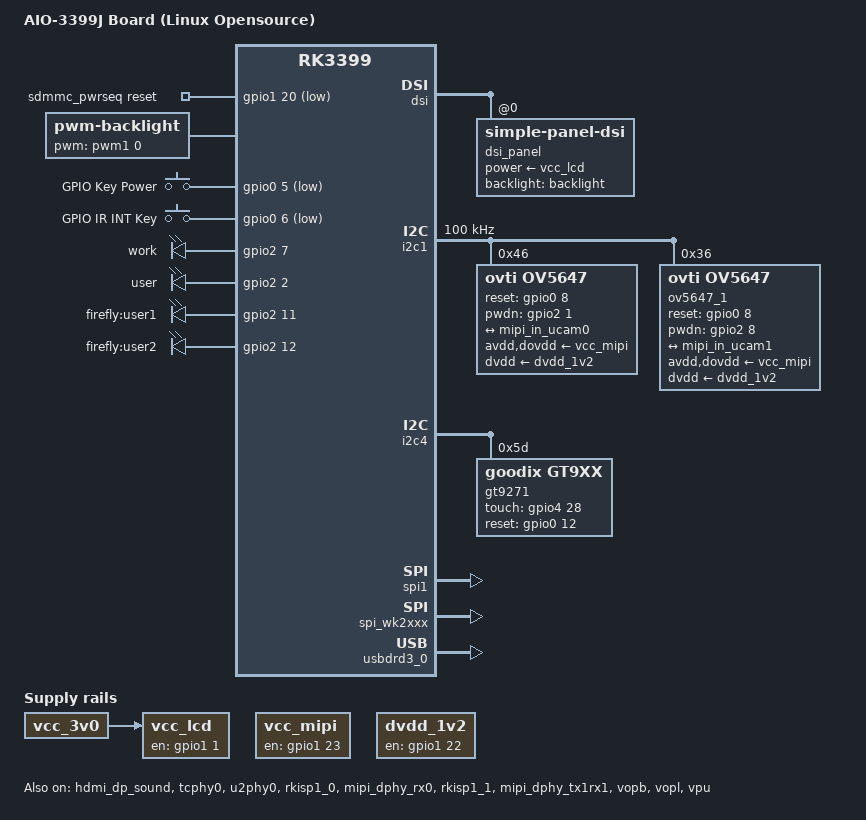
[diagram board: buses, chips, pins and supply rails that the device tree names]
/*
 * Copyright (c) 2016 Fuzhou Rockchip Electronics Co., Ltd
 *
 * This file is dual-licensed: you can use it either under the terms
 * of the GPL or the X11 license, at your option. Note that this dual
 * licensing only applies to this file, and not this project as a
 * whole.
 *
 *  a) This file is free software; you can redistribute it and/or
 *     modify it under the terms of the GNU General Public License as
 *     published by the Free Software Foundation; either version 2 of the
 *     License, or (at your option) any later version.
 *
 *     This file is distributed in the hope that it will be useful,
 *     but WITHOUT ANY WARRANTY; without even the implied warranty of
 *     MERCHANTABILITY or FITNESS FOR A PARTICULAR PURPOSE.  See the
 *     GNU General Public License for more details.
 *
 * Or, alternatively,
 *     restriction, including without limitation the rights to use,
 *     copy, modify, merge, publish, distribute, sublicense, and/or
 *     sell copies of the Software, and to permit persons to whom the
 *     Software is furnished to do so, subject to the following
 *     conditions:
 *
 *     The above copyright notice and this permission notice shall be
 *     included in all copies or substantial portions of the Software.
 *
 *     THE SOFTWARE IS PROVIDED "AS IS", WITHOUT WARRANTY OF ANY KIND,
 *     EXPRESS OR IMPLIED, INCLUDING BUT NOT LIMITED TO THE WARRANTIES
 *     OF MERCHANTABILITY, FITNESS FOR A PARTICULAR PURPOSE AND
 *     NONINFRINGEMENT. IN NO EVENT SHALL THE AUTHORS OR COPYRIGHT
 *     HOLDERS BE LIABLE FOR ANY CLAIM, DAMAGES OR OTHER LIABILITY,
 *     WHETHER IN AN ACTION OF CONTRACT, TORT OR OTHERWISE, ARISING
 *     FROM, OUT OF OR IN CONNECTION WITH THE SOFTWARE OR THE USE OR
 *     OTHER DEALINGS IN THE SOFTWARE.
 */

/dts-v1/;

#include "dt-bindings/pwm/pwm.h"
#include "rk3399.dtsi"
#include "rk3399-opp.dtsi"
#include "rk3399-linux.dtsi"
#include "rk3399-firefly-port.dtsi"
#include <dt-bindings/input/input.h>
#include <dt-bindings/display/media-bus-format.h>

/ {
	model = "AIO-3399J Board (Linux Opensource)";
	compatible = "rockchip,rk3399-firefly", "rockchip,rk3399";

	test-power {
		status = "okay";
	};

	/delete-node/ vcc-sd;
	sdmmc_pwrseq: sdmmc-pwrseq {
		compatible = "mmc-pwrseq-simple";
		clocks = <&rk808 1>;
		clock-names = "ext_clock";
		pinctrl-names = "default";
		pinctrl-0 = <&sdcard_enable_h>;
		/*
		* On the module itself this is one of these (depending
		* on the actual card populated):
		* - SDIO_RESET_L_WL_REG_ON
		* - PDN (power down when low)
		*/
		reset-gpios = <&gpio1 20 GPIO_ACTIVE_LOW>; /* GPIO1_C4 */
	};

    backlight: backlight {
        status = "okay";
        compatible = "pwm-backlight";
        pwms = <&pwm1 0 25000 0>;
        brightness-levels = <
              0   1   2   3   4   5   6   7
              8   9  10  11  12  13  14  15
             16  17  18  19  20  21  22  23
             24  25  26  27  28  29  30  31
             32  33  34  35  36  37  38  39
             40  41  42  43  44  45  46  47
             48  49  50  51  52  53  54  55
             56  57  58  59  60  61  62  63
             64  65  66  67  68  69  70  71
             72  73  74  75  76  77  78  79
             80  81  82  83  84  85  86  87
             88  89  90  91  92  93  94  95
             96  97  98  99 100 101 102 103
            104 105 106 107 108 109 110 111
            112 113 114 115 116 117 118 119
            120 121 122 123 124 125 126 127
            128 129 130 131 132 133 134 135
            136 137 138 139 140 141 142 143
            144 145 146 147 148 149 150 151
            152 153 154 155 156 157 158 159
            160 161 162 163 164 165 166 167
            168 169 170 171 172 173 174 175
            176 177 178 179 180 181 182 183
            184 185 186 187 188 189 190 191
            192 193 194 195 196 197 198 199
            200 201 202 203 204 205 206 207
            208 209 210 211 212 213 214 215
            216 217 218 219 220 221 222 223
            224 225 226 227 228 229 230 231
            232 233 234 235 236 237 238 239
            240 241 242 243 244 245 246 247
            248 249 250 251 252 253 254 255>;
        default-brightness-level = <50>;
    };

/*  POWER CONTROL START */
    vcc_lcd: vcc-lcd {
        compatible = "regulator-fixed";
        enable-active-high;
        regulator-boot-on;
        gpio = <&gpio1 1 GPIO_ACTIVE_HIGH>;
        pinctrl-names = "default";
        pinctrl-0 = <&lcd_en>;
        regulator-name = "vcc_lcd";
        vin-supply = <&vcc_3v0>;
    };

    vcc_mipi: vcc_mipi {
        compatible = "regulator-fixed";
        enable-active-high;
        gpio = <&gpio1 23 GPIO_ACTIVE_HIGH>;
        pinctrl-names = "default";
        pinctrl-0 = <&dvp_pwr>;
        regulator-name = "vcc_mipi";
        status = "okay";
        };

    dvdd_1v2: dvdd-1v2 {
        compatible = "regulator-fixed";
        enable-active-high;
        gpio = <&gpio1 22 GPIO_ACTIVE_HIGH>;
        pinctrl-names = "default";
        pinctrl-0 = <&cif_pwr>;
        regulator-name = "dvdd_1v2";
        status = "okay";
        };

/* POWER CONTROL */


    gpio-keys {
        compatible = "gpio-keys";
        #address-cells = <1>;
        #size-cells = <0>;
        autorepeat;

        button@0 {
            gpios = <&gpio0 5 GPIO_ACTIVE_LOW>;
            linux,code = <KEY_POWER>;
            label = "GPIO Key Power";
            linux,input-type = <1>;
            gpio-key,wakeup = <1>;
            debounce-interval = <100>;
            pinctrl-names = "default";
            pinctrl-0 = <&pwrbtn>;
        };

        button@1 {
           gpios = <&gpio0 6 GPIO_ACTIVE_LOW>;         
           linux,code = <KEY_WWW>;
           label = "GPIO IR INT Key";
           linux,input-type = <1>;
           gpio-key,wakeup = <1>;
           debounce-interval = <100>;
           pinctrl-names = "default";
           pinctrl-0 = <&ir_int_btn>;
        };

    };

	leds {
		compatible = "gpio-leds";

		work {
			gpios = <&gpio2 7 GPIO_ACTIVE_HIGH>;
			default-state = "on";
		};

		user {
			gpios = <&gpio2 2 GPIO_ACTIVE_HIGH>;
			default-state = "off";
		};

        user1 {
            label = "firefly:user1";
            gpios = <&gpio2 11 GPIO_ACTIVE_HIGH>;
            pinctrl-names = "default";
            pinctrl-0 = <&led_user1>;
            default-state = "off";
        };

        user2 {
            label = "firefly:user2";
            gpios = <&gpio2 12 GPIO_ACTIVE_HIGH>;
            pinctrl-names = "default";
            pinctrl-0 = <&led_user2>;
            default-state = "off";
        };
	};
};
///////////mipi LCD


&dsi {
    status = "okay";
    dsi_panel: panel {
        compatible ="simple-panel-dsi";
        reg = <0>;
        backlight = <&backlight>;
        power-supply = <&vcc_lcd>;
        dsi,flags = <(MIPI_DSI_MODE_VIDEO | MIPI_DSI_MODE_VIDEO_BURST)>;
        dsi,format = <MIPI_DSI_FMT_RGB888>;
        bus-format = <MEDIA_BUS_FMT_RGB666_1X18>;
        dsi,lanes = <4>;
        reset-delay-ms = <20>;
        init-delay-ms = <20>;
        enable-delay-ms = <120>;
        prepare-delay-ms = <120>;
        status = "okay";

        panel-init-sequence = [
            05 20 01 29
            05 96 01 11
        ];

        panel-exit-sequence = [
            05 05 01 28
            05 78 01 10
        ];

        disp_timings: display-timings {
            native-mode = <&timing0>;

            timing0: timing0 {
                clock-frequency = <72000000>;
                hactive = <1280>;
                vactive = <800>;
                hsync-len = <20>;
                hback-porch = <110>;
                hfront-porch = <170>;
                vsync-len = <40>;
                vback-porch = <130>;
                vfront-porch = <136>;
                hsync-active = <1>;
                vsync-active = <1>;
                de-active = <1>;
                pixelclk-active = <0>;
            };
        };
    };
};

&i2c1 {
    status = "okay";
    i2c-scl-rising-time-ns = <300>;
    i2c-scl-falling-time-ns = <15>;
    clock-frequency = <100000>;
/*
    ov13850: ov13850@36 {
        compatible = "ovti,ov13850";
        status = "okay";
        reg = <0x36>;
        clocks = <&cru SCLK_CIF_OUT>;
        clock-names = "xvclk";

        // conflict with csi-ctl-gpios 
        reset-gpios = <&gpio0 8 GPIO_ACTIVE_HIGH>;
        pwdn-gpios = <&gpio2 1 GPIO_ACTIVE_HIGH>;
        pinctrl-names = "rockchip,camera_default", "rockchip,camera_sleep";
        //pinctrl-0 = <&cif_clkout>;
        pinctrl-0 = <&cam0_default_pins>;
        pinctrl-1 = <&cam0_sleep_pins>;

        avdd-supply = <&vcc_mipi>; // VCC28_MIPI 
        dovdd-supply = <&vcc_mipi>; // VCC18_MIPI 
        dvdd-supply = <&dvdd_1v2>; // DVDD_1V2 

        port {
            ucam_out0: endpoint {
                remote-endpoint = <&mipi_in_ucam0>;
                data-lanes = <1 2>;
            };
        };
    };

    ov13850_1: ov13850@46 {
        compatible = "ovti,ov13850";
        status = "okay";
        reg = <0x46>;
        clocks = <&cru SCLK_CIF_OUT>;
        clock-names = "xvclk";

        // conflict with csi-ctl-gpios 
        reset-gpios = <&gpio0 8 GPIO_ACTIVE_HIGH>;
        pwdn-gpios = <&gpio2 1 GPIO_ACTIVE_HIGH>;
        pinctrl-names = "rockchip,camera_default", "rockchip,camera_sleep";
        //pinctrl-0 = <&cif_clkout>;
        pinctrl-0 = <&cam0_default_pins>;
        pinctrl-1 = <&cam0_sleep_pins>;

        avdd-supply = <&vcc_mipi>; // VCC28_MIPI 
        dovdd-supply = <&vcc_mipi>; // VCC18_MIPI 
        dvdd-supply = <&dvdd_1v2>; // DVDD_1V2 

        port {
            ucam_out1: endpoint {
                remote-endpoint = <&mipi_in_ucam1>;
                data-lanes = <1 2>;
            };
        };
    };
*/
    ov5647: ov5647@46 {
        compatible = "ovti,ov5647";
        status = "okay";
        reg = <0x46>;
        clocks = <&cru SCLK_CIF_OUT>;
        clock-names = "xvclk";

       // conflict with csi-ctl-gpios 
        reset-gpios = <&gpio0 8 GPIO_ACTIVE_HIGH>;
        pwdn-gpios = <&gpio2 1 GPIO_ACTIVE_HIGH>;
    //pinctrl-names = "rockchip,camera_default","rockchip,camera_sleep";
        //pinctrl-0 = <&cif_clkout>;
        //pinctrl-0 = <&cam0_default_pins>;
        //pinctrl-1 = <&cam0_sleep_pins>;

        avdd-supply = <&vcc_mipi>;  // VCC28_MIPI 
        dovdd-supply = <&vcc_mipi>; // VCC18_MIPI 
        dvdd-supply = <&dvdd_1v2>;  // DVDD_1V2 

        port {
           ucam_out0: endpoint {
               remote-endpoint = <&mipi_in_ucam0>;
               data-lanes = <1 2>;
           };
       };
    };


   ov5647_1: ov5647@36 {
       compatible = "ovti,ov5647";
       status = "okay";
       reg = <0x36>;
        clocks = <&cru SCLK_CIF_OUT>;
        clock-names = "xvclk";

        // conflict with csi-ctl-gpios 
        reset-gpios = <&gpio0 8 GPIO_ACTIVE_HIGH>;
        pwdn-gpios = <&gpio2 8 GPIO_ACTIVE_HIGH>;
    //pinctrl-names = "rockchip,camera_default", "rockchip,camera_sleep";
        //pinctrl-0 = <&cif_clkout>;
        //pinctrl-0 = <&cam0_default_pins>;
        //pinctrl-1 = <&cam0_sleep_pins>;

        avdd-supply = <&vcc_mipi>; // VCC28_MIPI 
        dovdd-supply = <&vcc_mipi>; // VCC18_MIPI 
        dvdd-supply = <&dvdd_1v2>; // DVDD_1V2 

        port {
            ucam_out1: endpoint {
                remote-endpoint = <&mipi_in_ucam1>;
                data-lanes = <1 2>;
            };
        };
    };


};


&i2c4 {
    status = "okay";
    i2c-scl-rising-time-ns = <475>;
    i2c-scl-falling-time-ns = <26>;

    gt9271: gt9271@5d {
        status = "okay";
        compatible = "goodix,gt9xx";
        reg = <0x5d>;
        max-x = <1280>;
        max-y = <800>;
        tp-size = <9271>;
        touch-gpio = <&gpio4 28 IRQ_TYPE_LEVEL_LOW>;
        reset-gpio = <&gpio0 12 GPIO_ACTIVE_HIGH>;
    };

};

&cdn_dp {
	status = "disabled";
};

&hdmi_dp_sound {
	status = "okay";
};

&rt5640 {
    aux-det-adc-value = <1000>;
    io-channels = <&saradc 4>, <&saradc 2>;
    io-channel-names = "hp-det", "aux-det";
};

&sdmmc {
	/delete-property/ vmmc-supply;
	mmc-pwrseq = <&sdmmc_pwrseq>;
};

&spi1 {
    status = "okay";
};

&spi_wk2xxx {
    status = "okay";
};

&fusb0 {
    status = "disabled";
};

&tcphy0 {
    status = "okay";
    /delete-property/ extcon;
};

&u2phy0 {
    status = "okay";
    /delete-property/ extcon;

    u2phy0_otg: otg-port {
        rockchip,vbus-always-on;
        vbus-5v-gpios = <&gpio1 3 GPIO_ACTIVE_HIGH>;
        status = "okay";
    };
};

&usbdrd3_0 {
    status = "okay";
    /delete-property/ extcon;
};

&vcc3v3_pcie {
    gpio = <&gpio0 13 GPIO_ACTIVE_HIGH>;
};

&vcc3v3_3g {
    gpio = <&gpio2 6 GPIO_ACTIVE_HIGH>;
};

&uart4 {
    status = "disabled";
};

&dp_in_vopb {
	status = "disabled";
};

&hdmi_in_vopl {
	status = "disabled";
};

&wdt {
	status = "disabled";
};

&io_domains {
	bt656-supply = <&vcc_3v0>;
};

&pinctrl {
    buttons {
        pwrbtn: pwrbtn {
            rockchip,pins = <0 5 RK_FUNC_GPIO &pcfg_pull_up>;
        };

        ir_int_btn: ir_int_btn {
            rockchip,pins = <0 6 RK_FUNC_GPIO &pcfg_pull_up>;
        };
    };

	leds {
		led_power: led-power {
			rockchip,pins =
				<2 7 RK_FUNC_GPIO &pcfg_pull_none>;
		};

		led_user: led-user {
			rockchip,pins =
				<2 2 RK_FUNC_GPIO &pcfg_pull_none>;
		};

        led_user1: led-user1 {
            rockchip,pins =
                <2 11 RK_FUNC_GPIO &pcfg_pull_none>;
        };

        led_user2: led-user2 {
            rockchip,pins =
                <2 12 RK_FUNC_GPIO &pcfg_pull_none>;
        };
	};

    lcd {
        lcd_en: lcd-en  {
            rockchip,pins = <1 1 RK_FUNC_GPIO &pcfg_pull_none>;
        };
    };


	pcie {
		pcie_drv: pcie-drv {
			rockchip,pins =
				<0 13 RK_FUNC_GPIO &pcfg_pull_none>;
		};

		pcie_3g_drv: pcie-3g-drv {
			rockchip,pins =
				<2 6 RK_FUNC_GPIO &pcfg_pull_up>;
		};
	};

	sdmmc-pwrseq {
		sdcard_enable_h: sdcard-enable-h {
			rockchip,pins =
				<1 20 RK_FUNC_GPIO &pcfg_pull_none>;
		};
	};

    cam0 {
                cif_pwr: cif-pwr {
                        rockchip,pins = <1 22 RK_FUNC_GPIO &pcfg_pull_down>;
                };

                dvp_pwr: dvp-pwr {
                        rockchip,pins = <1 23 RK_FUNC_GPIO &pcfg_pull_down>;
                };
        };
};


/* mipi  */
&isp0_mmu {
    status = "okay";
};
&rkisp1_0 {
    status = "okay";
};
&mipi_dphy_rx0 {
    status = "okay";
};

&isp1_mmu {
    status = "okay";
};

&rkisp1_1 {
    status = "okay";
};
&mipi_dphy_tx1rx1 {
    status = "okay";
};
&vopb {
    status = "okay";
};
&vopb_mmu {
    status = "okay";
};
&vopl {
    status = "okay";
};
&vopl_mmu {
    status = "okay";
};
&vpu {
    status = "okay";
};
